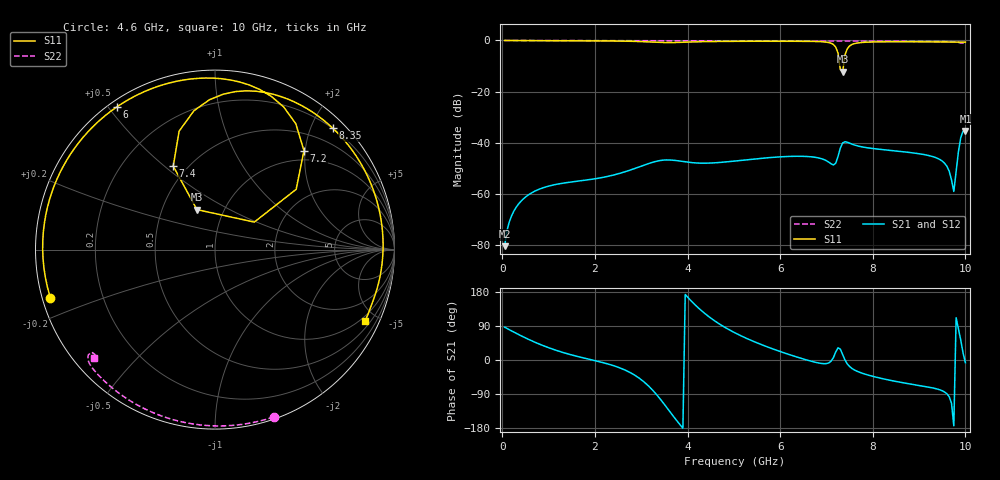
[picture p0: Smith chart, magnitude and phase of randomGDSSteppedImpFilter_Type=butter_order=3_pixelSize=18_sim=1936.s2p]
! freq	dB(S11)	phase(S11)	dB(S12)	phase(S12)
!  dB(S21)	phase(S21)	dB(S22)	phase(S22)
!S-par simulation data
#  GHz  S  DB  R 50
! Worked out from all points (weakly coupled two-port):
!   200 points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, 50 MHz to 10 GHz, reference 50 ohm
!   highest |S21| = -35.47 dB at 10 GHz (marker M1); lowest = -80.5 dB at 50 MHz (marker M2)
!   lowest |S11| = -12.2 dB at 7.35 GHz (marker M3), VSWR 1.65, Z = 37.3 + j17.7 ohm
!   |S11| at or under -10 dB: 7.289 GHz to 7.367 GHz (78.31 MHz wide, 1.07 % of centre)
!   |S22| runs from -1.0 to 0.0 dB; largest |S21 - S12| = 0
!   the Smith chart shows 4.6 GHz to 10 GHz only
!   S11 on the Smith chart (normalised r, x): 4.6 GHz: 0.02, -0.14; 6 GHz: 0.02, +0.52; 7.2 GHz: 0.81, +1.97; 7.4 GHz: 0.42, +0.54; 8.35 GHz: 0.19, +2.35; 10 GHz: 0.78, -4.30
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0.05  -0.01 -5.9  -80.50 86.7  -80.50 86.7  -0.00 -0.8
0.3  -0.05 -34.4  -65.27 70.5  -65.27 70.5  -0.01 -4.9
0.8  -0.10 -85.3  -58.18 42.0  -58.18 42.0  -0.02 -12.9
1.75  -0.14 -158.4  -54.78 5.6  -54.78 5.6  -0.04 -28.0
2.4  -0.21 155.1  -52.68 -14.8  -52.68 -14.8  -0.05 -38.1
2.95  -0.41 99.2  -49.52 -47.4  -49.52 -47.4  -0.06 -46.5
3.4  -0.78 18.4  -47.02 -101.4  -47.02 -101.4  -0.07 -53.2
3.85  -0.74 -78.3  -47.24 -172.7  -47.24 -172.7  -0.08 -59.9
4.2  -0.53 -128.0  -47.96 141.3  -47.96 141.3  -0.09 -64.9
4.6  -0.39 -163.6  -47.88 102.1  -47.88 102.1  -0.10 -70.6
5.05  -0.33 168.6  -47.13 70.1  -47.13 70.1  -0.12 -76.9
6  -0.31 124.6  -45.55 22.4  -45.55 22.4  -0.16 -89.8
6.7  -0.38 93.3  -45.58 -4.2  -45.58 -4.2  -0.19 -99.0
7.2  -2.60 48.1  -48.04 21.2  -48.04 21.2  -0.22 -105.4
7.35  -12.23 114.3  -40.10 14.3  -40.10 14.3  -0.23 -107.3
7.4  -5.68 116.6  -39.62 -0.1  -39.62 -0.1  -0.23 -108.0
7.65  -1.04 82.7  -41.16 -29.1  -41.16 -29.1  -0.25 -111.1
8.35  -0.51 45.8  -42.98 -52.9  -42.98 -52.9  -0.31 -119.9
9.45  -0.57 -0.6  -46.60 -78.8  -46.60 -78.8  -0.42 -133.9
9.75  -0.64 -13.8  -59.11 -173.8  -59.11 -173.8  -0.53 -138.5
9.9  -0.68 -20.5  -38.00 52.2  -38.00 52.2  -0.98 -140.2
10  -0.68 -25.4  -35.47 -7.2  -35.47 -7.2  -0.85 -138.3
